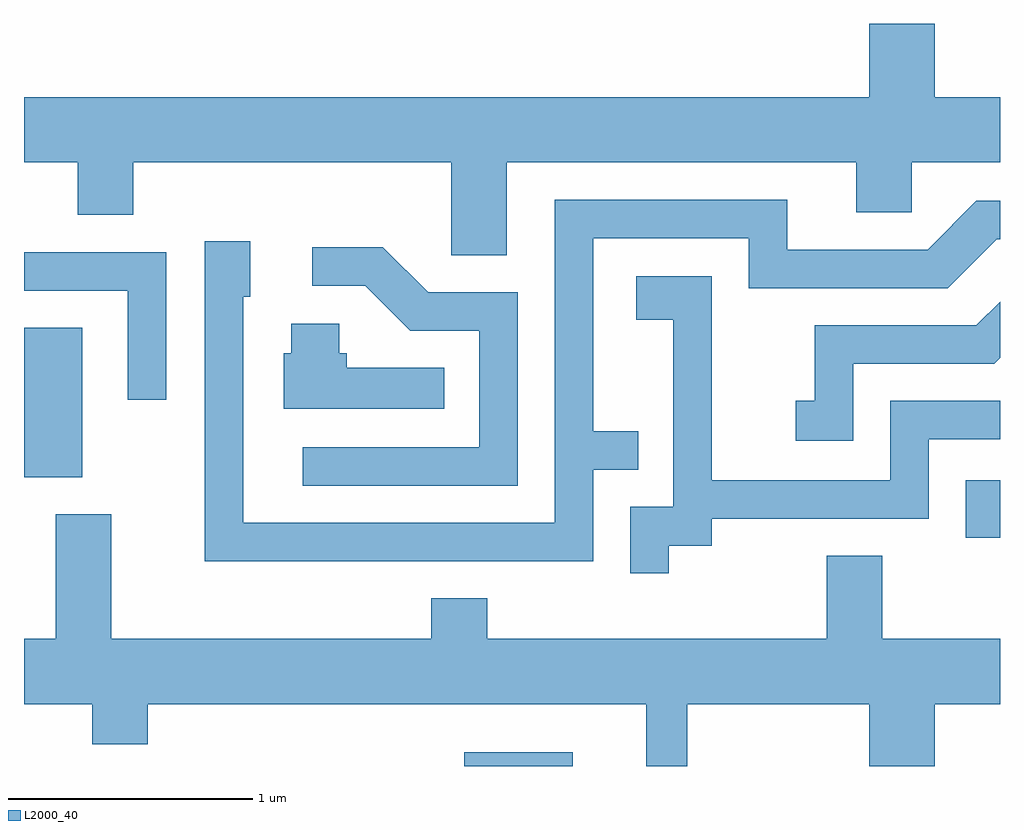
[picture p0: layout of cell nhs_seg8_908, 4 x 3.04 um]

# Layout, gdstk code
import gdstk
lib = gdstk.Library(unit=1e-6, precision=1e-09)
def R(c, l, rs):  # rectangles x0, y0, x1, y1
    for r in rs: c.add(gdstk.rectangle(r[:2], r[2:], *l))
def P(c, l, *ps):  # polygons
    for p in ps: c.add(gdstk.Polygon(p, *l))
L2000_40 = (2000, 40)

nhs_seg8_908 = lib.new_cell('nhs_seg8_908')
R(nhs_seg8_908, L2000_40, [(213.416,1878.342,213.859,1878.399), (215.471,1879.278,215.611,1879.514), (211.611,1879.526,211.849,1880.139)])
P(nhs_seg8_908, L2000_40, [(213.589,1880.816),(215.021,1880.816),(215.021,1880.611),(215.249,1880.611),(215.249,1880.816),(215.611,1880.816),(215.611,1881.084),(215.344,1881.084),(215.344,1881.384),(215.076,1881.384),(215.076,1881.084),(211.611,1881.084),(211.611,1880.816),(211.831,1880.816),(211.831,1880.601),(212.059,1880.601),(212.059,1880.816),(213.361,1880.816),(213.361,1880.436),(213.589,1880.436)],
  [(213.944,1879.556),(214.128,1879.556),(214.128,1879.714),(213.944,1879.714),(213.944,1880.506),(214.581,1880.506),(214.581,1880.301),(215.397,1880.301),(215.597,1880.501),(215.611,1880.501),(215.611,1880.659),(215.514,1880.659),(215.314,1880.459),(214.739,1880.459),(214.739,1880.664),(213.786,1880.664),(213.786,1879.339),(212.509,1879.339),(212.509,1880.266),(212.539,1880.266),(212.539,1880.494),(212.351,1880.494),(212.351,1879.181),(213.944,1879.181)],
  [(213.634,1880.284),(213.267,1880.284),(213.082,1880.469),(212.793,1880.469),(212.793,1880.311),(213.009,1880.311),(213.194,1880.126),(213.476,1880.126),(213.476,1879.649),(212.753,1879.649),(212.753,1879.491),(213.634,1879.491)],
  [(212.194,1880.449),(211.611,1880.449),(211.611,1880.291),(212.036,1880.291),(212.036,1879.843),(212.194,1879.843)],
  [(214.254,1879.246),(214.429,1879.246),(214.429,1879.356),(215.319,1879.356),(215.319,1879.681),(215.611,1879.681),(215.611,1879.839),(215.161,1879.839),(215.161,1879.514),(214.429,1879.514),(214.429,1880.349),(214.121,1880.349),(214.121,1880.171),(214.271,1880.171),(214.271,1879.404),(214.096,1879.404),(214.096,1879.133),(214.254,1879.133)],
  [(215.009,1879.991),(215.587,1879.991),(215.611,1880.015),(215.611,1880.246),(215.514,1880.149),(214.851,1880.149),(214.851,1879.839),(214.773,1879.839),(214.773,1879.676),(215.009,1879.676)],
  [(213.333,1879.974),(212.934,1879.974),(212.934,1880.034),(212.904,1880.034),(212.904,1880.154),(212.706,1880.154),(212.706,1880.034),(212.676,1880.034),(212.676,1879.806),(213.333,1879.806)],
  [(214.329,1878.596),(215.076,1878.596),(215.076,1878.342),(215.344,1878.342),(215.344,1878.596),(215.611,1878.596),(215.611,1878.864),(215.129,1878.864),(215.129,1879.204),(214.901,1879.204),(214.901,1878.864),(213.509,1878.864),(213.509,1879.029),(213.281,1879.029),(213.281,1878.864),(211.969,1878.864),(211.969,1879.374),(211.741,1879.374),(211.741,1878.864),(211.611,1878.864),(211.611,1878.596),(211.891,1878.596),(211.891,1878.431),(212.119,1878.431),(212.119,1878.596),(214.161,1878.596),(214.161,1878.342),(214.329,1878.342)])

lib.write_gds('nhs_seg8_908.gds')
